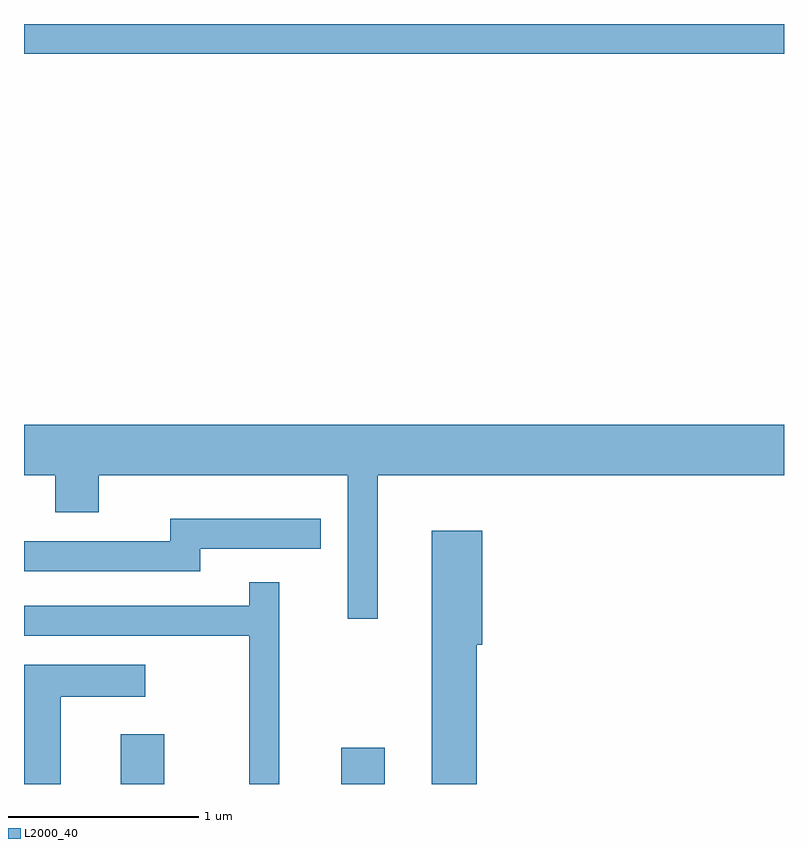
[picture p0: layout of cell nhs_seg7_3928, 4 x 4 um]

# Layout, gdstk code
import gdstk
lib = gdstk.Library(unit=1e-6, precision=1e-09)
def R(c, l, rs):  # rectangles x0, y0, x1, y1
    for r in rs: c.add(gdstk.rectangle(r[:2], r[2:], *l))
def P(c, l, *ps):  # polygons
    for p in ps: c.add(gdstk.Polygon(p, *l))
L2000_40 = (2000, 40)

nhs_seg7_3928 = lib.new_cell('nhs_seg7_3928')
R(nhs_seg7_3928, L2000_40, [(306.121,1708.252,306.349,1708.514), (307.281,1708.252,307.509,1708.444), (305.611,1712.096,309.611,1712.252)])
P(nhs_seg7_3928, L2000_40, [(307.474,1709.876),(309.611,1709.876),(309.611,1710.144),(305.611,1710.144),(305.611,1709.876),(305.776,1709.876),(305.776,1709.681),(306.004,1709.681),(306.004,1709.876),(307.316,1709.876),(307.316,1709.123),(307.474,1709.123)],
  [(306.539,1709.491),(307.173,1709.491),(307.173,1709.649),(306.381,1709.649),(306.381,1709.529),(305.611,1709.529),(305.611,1709.371),(306.539,1709.371)],
  [(307.994,1708.986),(308.024,1708.986),(308.024,1709.584),(307.756,1709.584),(307.756,1708.252),(307.994,1708.252)],
  [(306.954,1709.313),(306.796,1709.313),(306.796,1709.189),(305.611,1709.189),(305.611,1709.031),(306.796,1709.031),(306.796,1708.252),(306.954,1708.252)],
  [(305.804,1708.711),(306.248,1708.711),(306.248,1708.879),(305.611,1708.879),(305.611,1708.252),(305.804,1708.252)])

lib.write_gds('nhs_seg7_3928.gds')
